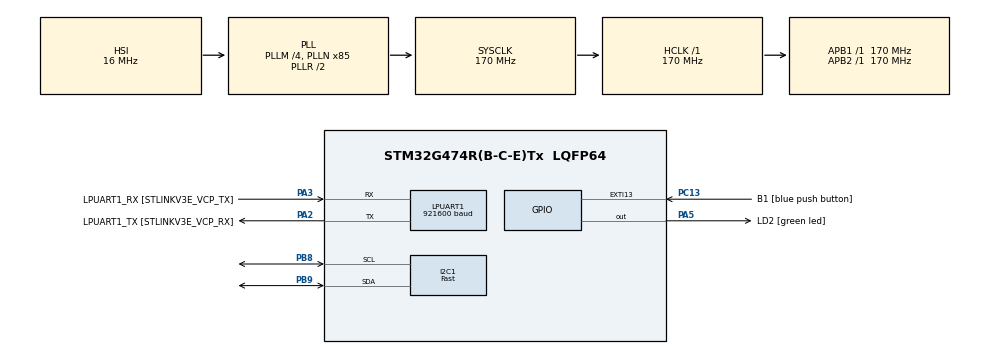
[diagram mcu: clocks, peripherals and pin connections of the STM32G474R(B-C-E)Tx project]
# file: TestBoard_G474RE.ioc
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Dma.LPUART1_TX.0.Direction=DMA_MEMORY_TO_PERIPH
Dma.LPUART1_TX.0.EventEnable=DISABLE
Dma.LPUART1_TX.0.Instance=DMA1_Channel2
Dma.LPUART1_TX.0.MemDataAlignment=DMA_MDATAALIGN_BYTE
Dma.LPUART1_TX.0.MemInc=DMA_MINC_ENABLE
Dma.LPUART1_TX.0.Mode=DMA_NORMAL
Dma.LPUART1_TX.0.PeriphDataAlignment=DMA_PDATAALIGN_BYTE
Dma.LPUART1_TX.0.PeriphInc=DMA_PINC_DISABLE
Dma.LPUART1_TX.0.Polarity=HAL_DMAMUX_REQ_GEN_RISING
Dma.LPUART1_TX.0.Priority=DMA_PRIORITY_LOW
Dma.LPUART1_TX.0.RequestNumber=1
Dma.LPUART1_TX.0.SignalID=NONE
Dma.LPUART1_TX.0.SyncEnable=DISABLE
Dma.LPUART1_TX.0.SyncPolarity=HAL_DMAMUX_SYNC_NO_EVENT
Dma.LPUART1_TX.0.SyncRequestNumber=1
Dma.LPUART1_TX.0.SyncSignalID=NONE
Dma.Request0=LPUART1_TX
I2C1.I2C_Speed_Mode=I2C_Fast
I2C1.Timing=0x10802D9B
LPUART1.BaudRate=921600
LPUART1.Mode=UART_MODE_TX
Mcu.Family=STM32G4
Mcu.Name=STM32G474R(B-C-E)Tx
Mcu.Package=LQFP64
NVIC.DMA1_Channel2_IRQn=true\:0\:0\:false\:false\:true\:false\:true\:true
NVIC.EXTI15_10_IRQn=true\:0\:0\:false\:false\:true\:true\:true\:true
NVIC.I2C1_EV_IRQn=true\:0\:0\:false\:false\:true\:true\:true\:true
NVIC.LPUART1_IRQn=true\:0\:0\:false\:false\:true\:true\:true\:true
NVIC.PriorityGroup=NVIC_PRIORITYGROUP_4
NVIC.TIM3_IRQn=true\:0\:0\:false\:false\:true\:true\:true\:true
PA13.GPIO_Label=T_SWDIO
PA13.Mode=Serial_Wire
PA13.Signal=SYS_JTMS-SWDIO
PA14.GPIO_Label=T_SWCLK
PA14.Mode=Serial_Wire
PA14.Signal=SYS_JTCK-SWCLK
PA2.GPIO_Label=LPUART1_TX [STLINKV3E_VCP_RX]
PA2.GPIO_Speed=GPIO_SPEED_FREQ_VERY_HIGH
PA2.Mode=Asynchronous
PA2.Signal=LPUART1_TX
PA3.GPIO_Label=LPUART1_RX [STLINKV3E_VCP_TX]
PA3.Mode=Asynchronous
PA3.Signal=LPUART1_RX
PA5.GPIO_Label=LD2 [green led]
PA5.Signal=GPIO_Output
PB3.GPIO_Label=T_SWO
PB3.Signal=SYS_JTDO-SWO
PB8-BOOT0.Mode=I2C
PB8-BOOT0.Signal=I2C1_SCL
PB9.Mode=I2C
PB9.Signal=I2C1_SDA
PC13.GPIO_Label=B1 [blue push button]
PC13.Signal=GPXTI13
PC14-OSC32_IN.Mode=LSE-External-Oscillator
PC14-OSC32_IN.Signal=RCC_OSC32_IN
PC15-OSC32_OUT.Mode=LSE-External-Oscillator
PC15-OSC32_OUT.Signal=RCC_OSC32_OUT
PF0-OSC_IN.Mode=HSE-External-Oscillator
PF0-OSC_IN.Signal=RCC_OSC_IN
PF1-OSC_OUT.Mode=HSE-External-Oscillator
PF1-OSC_OUT.Signal=RCC_OSC_OUT
ProjectManager.HeapSize=0x200
ProjectManager.StackSize=0x400
ProjectManager.TargetToolchain=STM32CubeIDE
RCC.ADC12Freq_Value=170000000
RCC.ADC345Freq_Value=170000000
RCC.AHBFreq_Value=170000000
RCC.APB1Freq_Value=170000000
RCC.APB1TimFreq_Value=170000000
RCC.APB2Freq_Value=170000000
RCC.APB2TimFreq_Value=170000000
RCC.CK48CLockSelection=RCC_USBCLKSOURCE_HSI48
RCC.CortexFreq_Value=170000000
RCC.EXTERNAL_CLOCK_VALUE=12288000
RCC.HCLKFreq_Value=170000000
RCC.HSE_VALUE=24000000
RCC.HSI48_VALUE=48000000
RCC.HSI_VALUE=16000000
RCC.PLLM=RCC_PLLM_DIV4
RCC.PLLN=85
RCC.RTCClockSelection=RCC_RTCCLKSOURCE_LSE
RCC.SYSCLKFreq_VALUE=170000000
RCC.SYSCLKSource=RCC_SYSCLKSOURCE_PLLCLK
RCC.USBFreq_Value=48000000
RCC.VCOOutputFreq_Value=340000000
TIM3.PeriodNoDither=1000-1
TIM3.Prescaler=170-1
VP_SYS_VS_DBSignals.Mode=DisableDeadBatterySignals
VP_TIM3_VS_ClockSourceINT.Mode=Internal
board=NUCLEO-G474RE

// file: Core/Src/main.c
/* USER CODE BEGIN Header */
/**
  ******************************************************************************
  * @file           : main.c
  * @brief          : Main program body
  ******************************************************************************
  * @attention
  *
  * Copyright (c) 2024 STMicroelectronics.
  * All rights reserved.
  *
  * This software is licensed under terms that can be found in the LICENSE file
  * in the root directory of this software component.
  * If no LICENSE file comes with this software, it is provided AS-IS.
  *
  ******************************************************************************
  */
/* USER CODE END Header */
#include "main.h"
#include "dma.h"
#include "i2c.h"
#include "usart.h"
#include "tim.h"
#include "gpio.h"

/* USER CODE BEGIN Includes */
#include <stdio.h>
#include <string.h>

//#include "usbd_cdc_if.h"
/* USER CODE END Includes */

/* USER CODE BEGIN PTD */

typedef struct _MPU6050Data_t {
    float accX;
    float accY;
    float accZ;

    float temp;

    float gyrX;
    float gyrY;
    float gyrZ;

    float accXoffset;
    float accYoffset;
    float accZoffset;

    float gyrXoffset;
    float gyrYoffset;
    float gyrZoffset;
} MPU6050Data_t;

/* USER CODE END PTD */

/* USER CODE BEGIN PD */

/* Device Address */
#define MPU6050_DEV_ADDR						0xD0U

/* Register Address */
#define MPU6050_PWR_MGMT_1						0x6BU
#define MPU6050_PWR_MGMT_2						0x6CU
#define MPU6050_GYRO_CONFIG						0x1BU
#define MPU6050_ACCEL_CONFIG					0x1CU

#define MPU6050_ACCEL_XOUT_H					0x3BU	// Information MSB
#define MPU6050_ACCEL_XOUT_L					0x3CU	// Information LSB
#define MPU6050_ACCEL_YOUT_H					0x3DU	// Information MSB
#define MPU6050_ACCEL_YOUT_L					0x3EU	// Information LSB
#define MPU6050_ACCEL_ZOUT_H					0x3FU	// Information MSB
#define MPU6050_ACCEL_ZOUT_L					0x40U	// Information LSB

#define MPU6050_TEMP_OUT_H						0x41U	// Information MSB
#define MPU6050_TEMP_OUT_L						0x42U	// Information LSB

#define MPU6050_GYRO_XOUT_H						0x43U	// Information MSB
#define MPU6050_GYRO_XOUT_L						0x44U	// Information LSB
#define MPU6050_GYRO_YOUT_H						0x45U	// Information MSB
#define MPU6050_GYRO_YOUT_L						0x46U	// Information LSB
#define MPU6050_GYRO_ZOUT_H						0x47U	// Information MSB
#define MPU6050_GYRO_ZOUT_L						0x48U	// Information LSB

/* Register Configuration Values */
#define MPU6050_PWR_MGMT_1_DATA				    0b00000000		// For 0x6B register
#define MPU6050_PWR_MGMT_2_DATA				    0b00000000		// For 0x6C register
#define MPU6050_GYR_CONFIG_250dps				0b00000000		// For 0x1B register
#define MPU6050_GYR_CONFIG_500dps				0b00001000		// For 0x1B register
#define MPU6050_GYR_CONFIG_1000dps				0b00010000		// For 0x1B register
#define MPU6050_GYR_CONFIG_2000dps				0b00011000		// For 0x1B register
#define MPU6050_ACC_CONFIG_2g				   	0b00000000		// For 0x1C register
#define MPU6050_ACC_CONFIG_4g				    0b00001000		// For 0x1C register
#define MPU6050_ACC_CONFIG_8g				    0b00010000		// For 0x1C register
#define MPU6050_ACC_CONFIG_16g				    0b00011000		// For 0x1C register

#define MPU6050_CONTROL_SIZE					1U
#define MPU6050_MEMADD_SIZE						1U
#define MPU6050_READDATA_SIZE					14
#define MPU6050_TOTAL_DATA_NUM					7

/* Data Scaling Factors */
#define MPU6050_ACCEL_SCALE_FACTOR_2g			16384.0f	// 16384 LSB/g
#define MPU6050_ACCEL_SCALE_FACTOR_4g    		8192.0f		// 8192  LSB/g
#define MPU6050_ACCEL_SCALE_FACTOR_8g			4096.0f		// 4096	 LSB/g
#define MPU6050_ACCEL_SCALE_FACTOR_16g			2048.0f		// 2048  LSB/g

#define MPU6050_GYRO_SCALE_FACTOR_250dps		131.0f		// 131  LSB/dps
#define MPU6050_GYRO_SCALE_FACTOR_500dps     	65.5f		// 65.5 LSB/dps
#define MPU6050_GYRO_SCALE_FACTOR_1000dps		32.8f		// 32.8 LSB/dps
#define MPU6050_GYRO_SCALE_FACTOR_2000dps		16.4f		// 16.4 LSB/dps

#define MPU6050_TEMP_SCALE_FACTOR     			340.0f		// Temperature(Celsius) = (Temp register value) / 340.0 + 36.53
#define MPU6050_TEMP_OFFSET      				36.53f

/* For making Training data */
#define SAVE_DATA_NUM							1000			// Time-series data number for DATASET
#define UART_TERMINATE_PYTHON					78			// should be matched with PYTHON

/* ON/OFF of UART sending */
#define UART_ACTIVATE
/* USER CODE END PD */

/* USER CODE BEGIN PV */

/*---------- For UART Transmit ----------*/
uint8_t uartTxBufSize = 0;
char splitString[2] = ",";
char newLine[2] = "\n";
char strBuf_8bit[3];
char strBuf_16bit[5];
char strBuf_32bit[10];
char uartTxBufChar[100] = "";
uint8_t uartTxBuf[100];

uint8_t uartTxUpdate = 0;
/*--------------------------------------*/

uint8_t rawData[14] = {0};
MPU6050Data_t IMUData;

uint16_t msTime = 0;
uint32_t loopCnt = 0;
uint32_t codeTime = 0;
uint32_t totalElapsedTime = 0;
uint32_t breakRT = 0;
uint8_t startDAQ = 0;
uint8_t GPIO_EXTI_FLAG = 0;

uint8_t cmd = 0;
uint8_t calibDone = 0;

/* USER CODE END PV */

void SystemClock_Config(void);
/* USER CODE BEGIN PFP */

uint8_t Init6Axis(I2C_HandleTypeDef* hi2c);
uint8_t WriteReg(I2C_HandleTypeDef* hi2c);
uint8_t ReadReg(I2C_HandleTypeDef* hi2c);
uint8_t GetIMUValues(I2C_HandleTypeDef* hi2c, uint8_t CalibON);
void CalibrateIMU(I2C_HandleTypeDef* hi2c);
void PrepareUARTTxData(void);
void TerminateUART(void);

/* USER CODE END PFP */

int main(void)
{

  /* MCU Configuration--------------------------------------------------------*/

  /* Reset of all peripherals, Initializes the Flash interface and the Systick. */
  HAL_Init();

  /* Configure the system clock */
  SystemClock_Config();

  /* Initialize all configured peripherals */
  MX_GPIO_Init();
  MX_DMA_Init();
  MX_I2C1_Init();
  MX_TIM3_Init();
  MX_LPUART1_UART_Init();
  /* USER CODE BEGIN 2 */

  CoreDebug->DEMCR &= ~CoreDebug_DEMCR_TRCENA_Msk;
  CoreDebug->DEMCR |= CoreDebug_DEMCR_TRCENA_Msk;
  DWT->CTRL &= ~DWT_CTRL_CYCCNTENA_Msk;
  DWT->CTRL |= DWT_CTRL_CYCCNTENA_Msk;
  DWT->CYCCNT = 0;

  /* Initialize the IMU */
  Init6Axis(&hi2c1);

  /* Calibration with -y axis */
//  CalibrateIMU(&hi2c1);

  /* Used Calibrated Values */
  IMUData.accXoffset = 0.0542423353;
  IMUData.accYoffset = 0.0239739418;
  IMUData.accZoffset = -0.245294675;
  IMUData.gyrXoffset = -0.131917208;
  IMUData.gyrYoffset = -0.965673268;
  IMUData.gyrZoffset = 0.522041917;

  /* USER CODE END 2 */

  /* Infinite loop */
  /* USER CODE BEGIN WHILE */
  while (1)
  {
#ifdef UART_ACTIVATE
	  if (uartTxUpdate == 1) {
		  HAL_UART_Transmit_DMA(&hlpuart1, uartTxBuf, uartTxBufSize);
//		  CDC_Transmit_FS((uint8_t*)uartTxBufChar, uartTxBufSize);
		  uartTxUpdate = 0;
	  }
#endif
    /* USER CODE END WHILE */

  }
}

void SystemClock_Config(void)
{
  RCC_OscInitTypeDef RCC_OscInitStruct = {0};
  RCC_ClkInitTypeDef RCC_ClkInitStruct = {0};

  /** Configure the main internal regulator output voltage
  */
  HAL_PWREx_ControlVoltageScaling(PWR_REGULATOR_VOLTAGE_SCALE1_BOOST);

  /** Initializes the RCC Oscillators according to the specified parameters
  * in the RCC_OscInitTypeDef structure.
  */
  RCC_OscInitStruct.OscillatorType = RCC_OSCILLATORTYPE_HSI;
  RCC_OscInitStruct.HSIState = RCC_HSI_ON;
  RCC_OscInitStruct.HSICalibrationValue = RCC_HSICALIBRATION_DEFAULT;
  RCC_OscInitStruct.PLL.PLLState = RCC_PLL_ON;
  RCC_OscInitStruct.PLL.PLLSource = RCC_PLLSOURCE_HSI;
  RCC_OscInitStruct.PLL.PLLM = RCC_PLLM_DIV4;
  RCC_OscInitStruct.PLL.PLLN = 85;
  RCC_OscInitStruct.PLL.PLLP = RCC_PLLP_DIV2;
  RCC_OscInitStruct.PLL.PLLQ = RCC_PLLQ_DIV2;
  RCC_OscInitStruct.PLL.PLLR = RCC_PLLR_DIV2;
  if (HAL_RCC_OscConfig(&RCC_OscInitStruct) != HAL_OK)
  {
    Error_Handler();
  }

  /** Initializes the CPU, AHB and APB buses clocks
  */
  RCC_ClkInitStruct.ClockType = RCC_CLOCKTYPE_HCLK|RCC_CLOCKTYPE_SYSCLK
                              |RCC_CLOCKTYPE_PCLK1|RCC_CLOCKTYPE_PCLK2;
  RCC_ClkInitStruct.SYSCLKSource = RCC_SYSCLKSOURCE_PLLCLK;
  RCC_ClkInitStruct.AHBCLKDivider = RCC_SYSCLK_DIV1;
  RCC_ClkInitStruct.APB1CLKDivider = RCC_HCLK_DIV1;
  RCC_ClkInitStruct.APB2CLKDivider = RCC_HCLK_DIV1;

  if (HAL_RCC_ClockConfig(&RCC_ClkInitStruct, FLASH_LATENCY_4) != HAL_OK)
  {
    Error_Handler();
  }
}

/* USER CODE BEGIN 4 */
uint8_t Init6Axis(I2C_HandleTypeDef* hi2c)
{
	uint8_t state = 0;
	state = HAL_I2C_IsDeviceReady(hi2c, MPU6050_DEV_ADDR, 10, 10);

	if (state == 0){
		state = WriteReg(hi2c);
	}

	return state;
}

uint8_t WriteReg(I2C_HandleTypeDef* hi2c)
{
	uint8_t state = 0;

	uint8_t conf_1 = MPU6050_PWR_MGMT_1_DATA;
	state = HAL_I2C_Mem_Write(hi2c, MPU6050_DEV_ADDR, MPU6050_PWR_MGMT_1, MPU6050_MEMADD_SIZE, &conf_1, MPU6050_CONTROL_SIZE, 10);
	uint8_t conf_2 = MPU6050_PWR_MGMT_2_DATA;
	state = HAL_I2C_Mem_Write(hi2c, MPU6050_DEV_ADDR, MPU6050_PWR_MGMT_2, MPU6050_MEMADD_SIZE, &conf_2, MPU6050_CONTROL_SIZE, 10);
	uint8_t conf_3 = MPU6050_GYR_CONFIG_500dps;
	state = HAL_I2C_Mem_Write(hi2c, MPU6050_DEV_ADDR, MPU6050_GYRO_CONFIG, MPU6050_MEMADD_SIZE, &conf_3, MPU6050_CONTROL_SIZE, 10);
	uint8_t conf_4 = MPU6050_ACC_CONFIG_4g;
	state = HAL_I2C_Mem_Write(hi2c, MPU6050_DEV_ADDR, MPU6050_ACCEL_CONFIG, MPU6050_MEMADD_SIZE, &conf_4, MPU6050_CONTROL_SIZE, 10);

	return state;
}

uint8_t ReadReg(I2C_HandleTypeDef* hi2c)
{
	uint8_t state = 0;

	state = HAL_I2C_Mem_Read(hi2c, MPU6050_DEV_ADDR, MPU6050_ACCEL_XOUT_H, MPU6050_MEMADD_SIZE, rawData, MPU6050_READDATA_SIZE, 1);

	return state;
}

uint8_t GetIMUValues(I2C_HandleTypeDef* hi2c, uint8_t CalibON)
{
	uint8_t state = 0;
	state = ReadReg(hi2c);

	if (state == 0) {
		int16_t rawValues[MPU6050_TOTAL_DATA_NUM] = {0};

		for (uint8_t i = 0; i < MPU6050_TOTAL_DATA_NUM; i++) {
			rawValues[i] = (int16_t)(rawData[i * 2] << 8 | rawData[i * 2 + 1]);
		}

	    IMUData.accX = (float)(rawValues[0] / MPU6050_ACCEL_SCALE_FACTOR_4g);
	    IMUData.accY = (float)(rawValues[1] / MPU6050_ACCEL_SCALE_FACTOR_4g);
	    IMUData.accZ = (float)(rawValues[2] / MPU6050_ACCEL_SCALE_FACTOR_4g);
	    IMUData.temp = (float)(rawValues[3] / MPU6050_TEMP_SCALE_FACTOR) + MPU6050_TEMP_OFFSET;
	    IMUData.gyrX = (float)(rawValues[4] / MPU6050_GYRO_SCALE_FACTOR_500dps);
	    IMUData.gyrY = (float)(rawValues[5] / MPU6050_GYRO_SCALE_FACTOR_500dps);
	    IMUData.gyrZ = (float)(rawValues[6] / MPU6050_GYRO_SCALE_FACTOR_500dps);

		if (CalibON == 1){
		    IMUData.accX -= IMUData.accXoffset;
		    IMUData.accY -= IMUData.accYoffset;
		    IMUData.accZ -= IMUData.accZoffset;

		    IMUData.gyrX -= IMUData.gyrXoffset;
		    IMUData.gyrY -= IMUData.gyrYoffset;
		    IMUData.gyrZ -= IMUData.gyrZoffset;
		}
	}

	return state;
}

/* Let the vector forwarding ground is equal to [-y axis] */
void CalibrateIMU(I2C_HandleTypeDef* hi2c)
{
	uint8_t state = 0;
	uint16_t calibNum = 5000;
	uint16_t correctNum = 0;

	while (cmd == 0) {

	}

	if (cmd == 1) {
		for (int i = 0; i < calibNum; i++) {
			state = GetIMUValues(hi2c, 0);
			if (state == 0) {
				IMUData.accXoffset += IMUData.accX;
				IMUData.accYoffset += IMUData.accY;
				IMUData.accZoffset += IMUData.accZ;
				IMUData.gyrXoffset += IMUData.gyrX;
				IMUData.gyrYoffset += IMUData.gyrY;
				IMUData.gyrZoffset += IMUData.gyrZ;

				correctNum++;
			}
			HAL_Delay(1);
		}

		/* After total calibration */
		IMUData.accXoffset /= correctNum;
		IMUData.accYoffset /= correctNum;
		IMUData.accZoffset /= correctNum;
		IMUData.gyrXoffset /= correctNum;
		IMUData.gyrYoffset /= correctNum;
		IMUData.gyrZoffset /= correctNum;

		IMUData.accYoffset -= 1;

		calibDone = 1;
	}
}

void PrepareUARTTxData(void)
{
	/* Reset the buffers */
	memset(uartTxBuf, 0, sizeof(uartTxBuf));
	memset(uartTxBufChar, 0, sizeof(uartTxBufChar));

	/* Assign the Data to send through UART */
	uint32_t data1 = loopCnt;
	float data2 = (float)IMUData.accX;
//	float data3 = (float)IMUData.accY;
//	float data4 = (float)IMUData.accZ;
//	float data5 = (float)IMUData.gyrX;
//	float data6 = (float)IMUData.gyrY;
//	float data7 = (float)IMUData.gyrZ;

	/* Append 1st component to sent */
	sprintf(uartTxBufChar, "%lu", data1);

	/* Append 2nd component to sent */
	strcat(uartTxBufChar, splitString);
	memset(strBuf_32bit, '\0', sizeof(strBuf_32bit));
	sprintf(strBuf_32bit, "%.2f", data2);
	strcat(uartTxBufChar, strBuf_32bit);

//	/* Append 3rd component to sent */
//	strcat(uartTxBufChar, splitString);
//	memset(strBuf_32bit, '\0', sizeof(strBuf_32bit));
//	sprintf(strBuf_32bit, "%.2f", data3);
//	strcat(uartTxBufChar, strBuf_32bit);
//
//	/* Append 4th component to sent */
//	strcat(uartTxBufChar, splitString);
//	memset(strBuf_32bit, '\0', sizeof(strBuf_32bit));
//	sprintf(strBuf_32bit, "%.2f", data4);
//	strcat(uartTxBufChar, strBuf_32bit);
//
//	/* Append 5th component to sent */
//	strcat(uartTxBufChar, splitString);
//	memset(strBuf_32bit, '\0', sizeof(strBuf_32bit));
//	sprintf(strBuf_32bit, "%.2f", data5);
//	strcat(uartTxBufChar, strBuf_32bit);
//
//	/* Append 6th component to sent */
//	strcat(uartTxBufChar, splitString);
//	memset(strBuf_32bit, '\0', sizeof(strBuf_32bit));
//	sprintf(strBuf_32bit, "%.2f", data6);
//	strcat(uartTxBufChar, strBuf_32bit);
//
//	/* Append 7th component to sent */
//	strcat(uartTxBufChar, splitString);
//	memset(strBuf_32bit, '\0', sizeof(strBuf_32bit));
//	sprintf(strBuf_32bit, "%.2f", data7);
//	strcat(uartTxBufChar, strBuf_32bit);

	/* Add "\n" in the end of data */
	strcat(uartTxBufChar, newLine);

	sprintf((char*)uartTxBuf, uartTxBufChar);
	uartTxBufSize = strlen(uartTxBufChar);

	/* Update the trigger */
	uartTxUpdate = 1;
}

void TerminateUART(void)
{
	/* Reset the buffers */
	memset(uartTxBuf, 0, sizeof(uartTxBuf));
	memset(uartTxBufChar, 0, sizeof(uartTxBufChar));

	/* Assign the Terminate Data to send through UART */
	uint8_t terminateData = UART_TERMINATE_PYTHON;

	/* Append "TERMINATION" component to sent */
	sprintf(uartTxBufChar, "%u", terminateData);

	/* Add "\n" in the end of data */
	strcat(uartTxBufChar, newLine);

	sprintf((char*)uartTxBuf, uartTxBufChar);
	uartTxBufSize = strlen(uartTxBufChar);

	uartTxUpdate = 1;
}

void HAL_TIM_PeriodElapsedCallback(TIM_HandleTypeDef *htim)
{
	if (htim->Instance == htim3.Instance){

		CoreDebug->DEMCR |= CoreDebug_DEMCR_TRCENA_Msk;
		DWT->CYCCNT = 0;
		DWT->CTRL |= DWT_CTRL_CYCCNTENA_Msk;

		/*---------------------- Choose the Function you want to RUN -----------------------*/
		GetIMUValues(&hi2c1, 1);

		if (loopCnt < SAVE_DATA_NUM) {
			PrepareUARTTxData();
//			HAL_UART_Transmit_DMA(&hlpuart1, uartTxBuf, uartTxBufSize);
		}
		else if (loopCnt == SAVE_DATA_NUM) {
			TerminateUART();
//			HAL_UART_Transmit_DMA(&hlpuart1, uartTxBuf, uartTxBufSize);
		}
		/* -------------------------------------------------------------------------------- */

		/*----------------------------------- Code End -------------------------------------*/
		codeTime = DWT->CYCCNT/170;

		if (msTime == 1000){
			msTime = 0;
			totalElapsedTime++;
		}

		msTime++;

		if (codeTime > 1000){
			breakRT++;
		}

		loopCnt++;
		/*----------------------------------------------------------------------------------*/
	}
}

void HAL_GPIO_EXTI_Callback(uint16_t GPIO_Pin) {
	if (GPIO_Pin == GPIO_PIN_13 && GPIO_EXTI_FLAG == 0) {
		loopCnt = 0;
		GPIO_EXTI_FLAG = 1;

		HAL_TIM_Base_Start_IT(&htim3);
	}

	else if (GPIO_Pin == GPIO_PIN_13 && GPIO_EXTI_FLAG == 1) {
		loopCnt = 0;
		GPIO_EXTI_FLAG = 0;

		HAL_TIM_Base_Stop_IT(&htim3);
	}
}

/* USER CODE END 4 */

void Error_Handler(void)
{
  __disable_irq();
  while (1)
  {
  }
}
